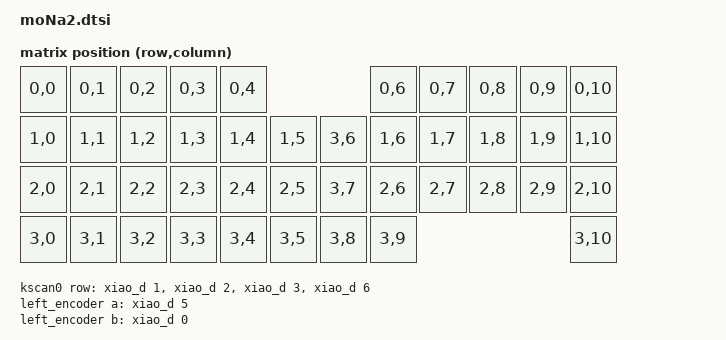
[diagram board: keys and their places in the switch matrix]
#include <dt-bindings/zmk/matrix_transform.h>

/*                                      KEY MATRIX / LAYOUT MAPPING

  ╭────────────────────────┬────────────────────────╮ ╭─────────────────────────┬─────────────────────────╮
  │  0   1   2   3   4     │      5   6   7   8   9 │ │ LT4 LT3 LT2 LT1 LT0     │     RT0 RT1 RT2 RT3 RT4 │
  │ 10  11  11  13  14  15 │ 16  17  18  19  20  21 │ │ LM5 LM4 LM3 LM2 LM1 LM0 │ RM0 RM1 RM2 RM3 RM4 RM5 │
  │ 22  23  24  25  26  27 │ 28  29  30  31  32  33 │ │ LB5 LB4 LB3 LB2 LB1 LB0 │ RB0 RB1 RB2 RB3 RB4 RB5 │
  │ 34  35  36  37  38  39 │ 40  41              42 │ │ LH5 LH4 LH3 LH2 LH1 LH0 │ RH0 RH1             RH2 │
  ╰────────────────────────┴────────────────────────╯ ╰─────────────────────────┴─────────────────────────╯ */

#define LT0  4  // left-top row
#define LT1  3
#define LT2  2
#define LT3  1
#define LT4  0

#define RT0  5  // right-top row
#define RT1  6
#define RT2  7
#define RT3  8
#define RT4  9

#define LM0 15  // left-middle row
#define LM1 14
#define LM2 13
#define LM3 12
#define LM4 11
#define LM5 10

#define RM0 16  // right-middle row
#define RM1 17
#define RM2 18
#define RM3 19
#define RM4 20
#define RM5 21

#define LB0 27  // left-bottom row
#define LB1 26
#define LB2 25
#define LB3 24
#define LB4 23
#define LB5 22

#define RB0 28  // right-bottom row
#define RB1 29
#define RB2 30
#define RB3 31
#define RB4 32
#define RB5 33

#define LH0 39  // left thumb keys
#define LH1 38
#define LH2 37
#define LH3 36
#define LH4 35
#define LH5 34

#define RH0 40  // right thumb keys
#define RH1 41
#define RH2 42

#define KEYS_L LT0 LT1 LT2 LT3 LT4 LM0 LM1 LM2 LM3 LM4 LM5 LB0 LB1 LB2 LB3 LB4 LB5
#define KEYS_R RT0 RT1 RT2 RT3 RT4 RM0 RM1 RM2 RM3 RM4 RM5 RB0 RB1 RB2 RB3 RB4 RB5
#define THUMBS LH0 LH1 LH2 LH3 LH4 LH5 RH0 RH1 RH2

/ {
    chosen {
        zmk,kscan = &kscan0;
        zmk,matrix_transform = &default_transform;
    };

    default_transform: keymap_transform_0 {
        compatible = "zmk,matrix-transform";
        columns = <11>;
        rows = <4>;
        map = <
            RC(0,0) RC(0,1) RC(0,2) RC(0,3) RC(0,4)                     RC(0,6) RC(0,7) RC(0,8) RC(0,9) RC(0,10)
            RC(1,0) RC(1,1) RC(1,2) RC(1,3) RC(1,4) RC(1,5)     RC(3,6) RC(1,6) RC(1,7) RC(1,8) RC(1,9) RC(1,10)
            RC(2,0) RC(2,1) RC(2,2) RC(2,3) RC(2,4) RC(2,5)     RC(3,7) RC(2,6) RC(2,7) RC(2,8) RC(2,9) RC(2,10)
            RC(3,0) RC(3,1) RC(3,2) RC(3,3) RC(3,4) RC(3,5)     RC(3,8) RC(3,9)                         RC(3,10)         
        >;
    };
    
    kscan0: kscan {
        compatible = "zmk,kscan-gpio-matrix";
        label = "KSCAN";
        diode-direction = "col2row";
            row-gpios
                = <&xiao_d 1 (GPIO_ACTIVE_HIGH | GPIO_PULL_DOWN)> 
                , <&xiao_d 2 (GPIO_ACTIVE_HIGH | GPIO_PULL_DOWN)> 
                , <&xiao_d 3 (GPIO_ACTIVE_HIGH | GPIO_PULL_DOWN)> 
                , <&xiao_d 6 (GPIO_ACTIVE_HIGH | GPIO_PULL_DOWN)> 			
                ;
    };

    left_encoder: encoder_left {
        compatible = "alps,ec11";
        a-gpios = <&xiao_d 5 (GPIO_ACTIVE_HIGH | GPIO_PULL_UP)>;
        b-gpios = <&xiao_d 0 (GPIO_ACTIVE_HIGH | GPIO_PULL_UP)>;
        steps = <24>;
        status = "disabled";
    };

    right_encoder: encoder_right {
        status = "disabled";
    };

    sensors: sensors {
        compatible = "zmk,keymap-sensors";
        sensors = <&left_encoder &right_encoder>;
        triggers-per-rotation = <10>;
    };
};
